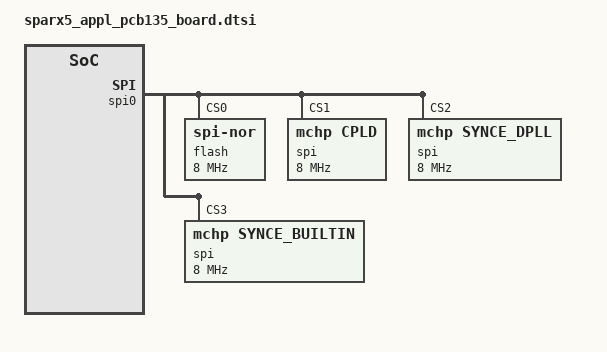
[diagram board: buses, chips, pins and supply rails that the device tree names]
// SPDX-License-Identifier: (GPL-2.0+ OR MIT)
/*
 * Copyright (c) 2023 Microchip Technology Inc. and its subsidiaries.
 */

#include "sparx5_pcb135_board.dtsi"
#include "sparx5_appl_pcb_common.dtsi"

/{
	aliases {
	    i2c0   = &i2c0;
	    i2c152 = &i2c_sfp1;
	    i2c153 = &i2c_sfp2;
	    i2c154 = &i2c_sfp3;
	    i2c155 = &i2c_sfp4;
	};
};

&gpio {
	cpld_pins: cpld-pins {
		// CS1
		pins = "GPIO_16";
		function = "si";
	};
	synce_pins: synce-pins {
		// CS2
		pins = "GPIO_17";
		function = "si";
	};
	synce_builtin_pins: synce-builtin-pins {
		// CS3
		pins = "GPIO_18";
		function = "si";
	};
	/* Used for LED control, so only claim output pins */
	sgpio0_pins: sgpio-pins {
		pins = "GPIO_0", "GPIO_1";
		function = "sg0";
	};

	/* Used for LED control, so only claim output pins */
	sgpio1_pins: sgpio1-pins {
		pins = "GPIO_4", "GPIO_5";
		function = "sg1";
	};
};

&spi0 {
	/delete-node/ spi@0;

	flash@0 {
		compatible = "jedec,spi-nor";
		spi-max-frequency = <8000000>;
		reg = <0>;
	};
	// cpld
	spi@1 {
		compatible = "mchp,cpld";
		reg = <1>;
		pinctrl-0 = <&cpld_pins>;
		pinctrl-names = "default";
		spi-max-frequency = <8000000>;
	};
	// synce module
	spi@2 {
		compatible = "mchp,synce_dpll";
		reg = <2>;
		pinctrl-0 = <&synce_pins>;
		pinctrl-names = "default";
		spi-max-frequency = <8000000>;
	};
	// redwood onboard ptp dpll
	spi@3 {
		compatible = "mchp,synce_builtin";
		reg = <3>;
		pinctrl-0 = <&synce_builtin_pins>;
		pinctrl-names = "default";
		spi-max-frequency = <8000000>;
	};
};

&sgpio2 {
	status = "disabled";
	/delete-property/ microchip,sgpio-port-ranges;
};

&switch {
	status = "disabled";
	/delete-property/ resets;
	/delete-property/ reset-names;
	/delete-node/ ethernet-ports;
};

&axi {
	/delete-node/ sfp-eth60;
	/delete-node/ sfp-eth61;
	/delete-node/ sfp-eth62;
	/delete-node/ sfp-eth63;
};

&mdio0 {
	status = "disabled";
	/delete-node/ ethernet-phy@0;
	/delete-node/ ethernet-phy@1;
	/delete-node/ ethernet-phy@2;
	/delete-node/ ethernet-phy@3;
	/delete-node/ ethernet-phy@4;
	/delete-node/ ethernet-phy@5;
	/delete-node/ ethernet-phy@6;
	/delete-node/ ethernet-phy@7;
	/delete-node/ ethernet-phy@8;
	/delete-node/ ethernet-phy@9;
	/delete-node/ ethernet-phy@10;
	/delete-node/ ethernet-phy@11;
	/delete-node/ ethernet-phy@12;
	/delete-node/ ethernet-phy@13;
	/delete-node/ ethernet-phy@14;
	/delete-node/ ethernet-phy@15;
	/delete-node/ ethernet-phy@16;
	/delete-node/ ethernet-phy@17;
	/delete-node/ ethernet-phy@18;
	/delete-node/ ethernet-phy@19;
	/delete-node/ ethernet-phy@20;
	/delete-node/ ethernet-phy@21;
	/delete-node/ ethernet-phy@22;
	/delete-node/ ethernet-phy@23;
};

&mdio1 {
	status = "disabled";
	/delete-node/ ethernet-phy@24;
	/delete-node/ ethernet-phy@25;
	/delete-node/ ethernet-phy@26;
	/delete-node/ ethernet-phy@27;
	/delete-node/ ethernet-phy@28;
	/delete-node/ ethernet-phy@29;
	/delete-node/ ethernet-phy@30;
	/delete-node/ ethernet-phy@31;
	/delete-node/ ethernet-phy@32;
	/delete-node/ ethernet-phy@33;
	/delete-node/ ethernet-phy@34;
	/delete-node/ ethernet-phy@35;
	/delete-node/ ethernet-phy@36;
	/delete-node/ ethernet-phy@37;
	/delete-node/ ethernet-phy@38;
	/delete-node/ ethernet-phy@39;
	/delete-node/ ethernet-phy@40;
	/delete-node/ ethernet-phy@41;
	/delete-node/ ethernet-phy@42;
	/delete-node/ ethernet-phy@43;
	/delete-node/ ethernet-phy@44;
	/delete-node/ ethernet-phy@45;
	/delete-node/ ethernet-phy@46;
	/delete-node/ ethernet-phy@47;
};

&mdio3 {
	status = "disabled";
	/delete-node/ ethernet-phy@64;
};
